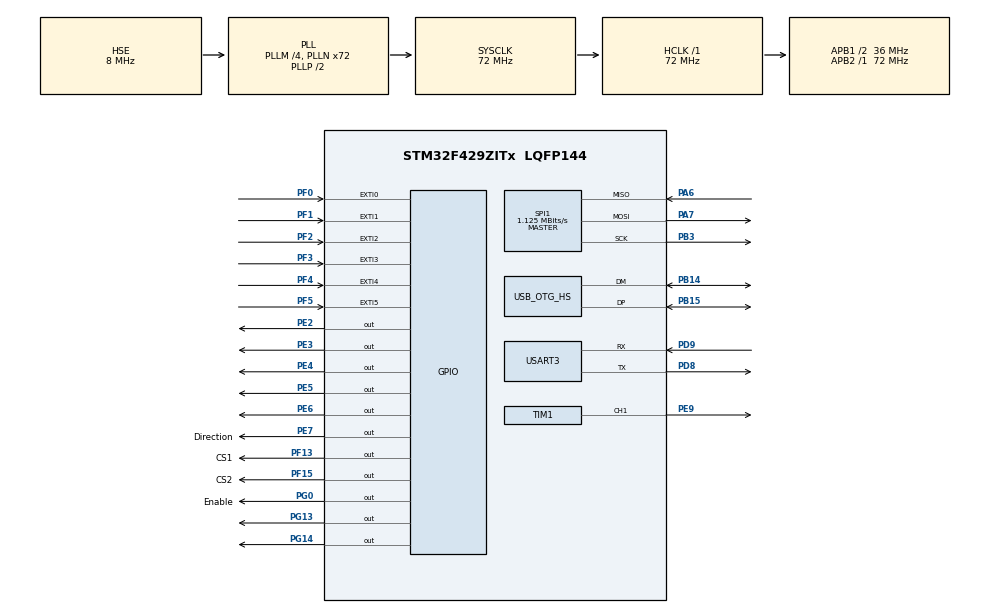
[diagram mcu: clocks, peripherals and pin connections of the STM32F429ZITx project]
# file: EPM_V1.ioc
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Dma.Request0=USART3_RX
Dma.USART3_RX.0.Direction=DMA_PERIPH_TO_MEMORY
Dma.USART3_RX.0.FIFOMode=DMA_FIFOMODE_DISABLE
Dma.USART3_RX.0.Instance=DMA1_Stream1
Dma.USART3_RX.0.MemDataAlignment=DMA_MDATAALIGN_BYTE
Dma.USART3_RX.0.MemInc=DMA_MINC_ENABLE
Dma.USART3_RX.0.Mode=DMA_CIRCULAR
Dma.USART3_RX.0.PeriphDataAlignment=DMA_PDATAALIGN_BYTE
Dma.USART3_RX.0.PeriphInc=DMA_PINC_DISABLE
Dma.USART3_RX.0.Priority=DMA_PRIORITY_LOW
FREERTOS.Tasks01=defaultTask,24,128,StartDefaultTask,Default,NULL,Dynamic,NULL,NULL;TempControl,24,128,StartTempControl,Default,NULL,Dynamic,NULL,NULL;TempRead,24,128,StartTempRead,Default,NULL,Dynamic,NULL,NULL;Reset,32,128,StartReset,Default,NULL,Dynamic,NULL,NULL;USB,24,128,StartUSB,Default,NULL,Dynamic,NULL,NULL
Mcu.Family=STM32F4
Mcu.Name=STM32F429ZITx
Mcu.Package=LQFP144
NVIC.DMA1_Stream1_IRQn=true\:5\:0\:false\:false\:true\:true\:false\:true\:true
NVIC.EXTI0_IRQn=true\:5\:0\:false\:false\:true\:true\:true\:true\:true
NVIC.EXTI1_IRQn=true\:5\:0\:false\:false\:true\:true\:true\:true\:true
NVIC.EXTI2_IRQn=true\:5\:0\:false\:false\:true\:true\:true\:true\:true
NVIC.EXTI3_IRQn=true\:5\:0\:false\:false\:true\:true\:true\:true\:true
NVIC.EXTI4_IRQn=true\:5\:0\:false\:false\:true\:true\:true\:true\:true
NVIC.EXTI9_5_IRQn=true\:5\:0\:false\:false\:true\:true\:true\:true\:true
NVIC.OTG_HS_IRQn=true\:5\:0\:false\:false\:true\:true\:false\:true\:true
NVIC.PriorityGroup=NVIC_PRIORITYGROUP_4
NVIC.TIM1_BRK_TIM9_IRQn=true\:5\:0\:false\:false\:true\:true\:true\:true\:true
NVIC.TIM1_CC_IRQn=true\:5\:0\:false\:false\:true\:true\:true\:true\:true
NVIC.TIM1_TRG_COM_TIM11_IRQn=true\:5\:0\:false\:false\:true\:true\:true\:true\:true
NVIC.TIM1_UP_TIM10_IRQn=true\:5\:0\:false\:false\:true\:true\:true\:true\:true
NVIC.TIM2_IRQn=true\:15\:0\:false\:false\:true\:false\:false\:true\:true
NVIC.TimeBase=TIM2_IRQn
NVIC.TimeBaseIP=TIM2
PA6.Mode=Full_Duplex_Master
PA6.Signal=SPI1_MISO
PA7.Mode=Full_Duplex_Master
PA7.Signal=SPI1_MOSI
PB14.Mode=Device_Only_FS
PB14.Signal=USB_OTG_HS_DM
PB15.Mode=Device_Only_FS
PB15.Signal=USB_OTG_HS_DP
PB3.Mode=Full_Duplex_Master
PB3.Signal=SPI1_SCK
PD8.Mode=Asynchronous
PD8.Signal=USART3_TX
PD9.Mode=Asynchronous
PD9.Signal=USART3_RX
PE2.Signal=GPIO_Output
PE3.Signal=GPIO_Output
PE4.Signal=GPIO_Output
PE5.Signal=GPIO_Output
PE6.Signal=GPIO_Output
PE7.GPIO_Label=Direction
PE7.Signal=GPIO_Output
PE9.Signal=S_TIM1_CH1
PF0.Signal=GPXTI0
PF1.Signal=GPXTI1
PF13.GPIO_Label=CS1
PF13.Signal=GPIO_Output
PF15.GPIO_Label=CS2
PF15.Signal=GPIO_Output
PF2.Signal=GPXTI2
PF3.Signal=GPXTI3
PF4.Signal=GPXTI4
PF5.Signal=GPXTI5
PG0.GPIO_Label=Enable
PG0.Signal=GPIO_Output
PG13.Signal=GPIO_Output
PG14.Signal=GPIO_Output
PH0/OSC_IN.Mode=HSE-External-Oscillator
PH0/OSC_IN.Signal=RCC_OSC_IN
PH1/OSC_OUT.Mode=HSE-External-Oscillator
PH1/OSC_OUT.Signal=RCC_OSC_OUT
ProjectManager.HeapSize=0x200
ProjectManager.StackSize=0x400
ProjectManager.TargetToolchain=MDK-ARM V5.32
RCC.48MHZClocksFreq_Value=48000000
RCC.AHBFreq_Value=72000000
RCC.APB1CLKDivider=RCC_HCLK_DIV2
RCC.APB1Freq_Value=36000000
RCC.APB1TimFreq_Value=72000000
RCC.APB2Freq_Value=72000000
RCC.APB2TimFreq_Value=72000000
RCC.CortexFreq_Value=72000000
RCC.HCLKFreq_Value=72000000
RCC.HSE_VALUE=8000000
RCC.HSI_VALUE=16000000
RCC.LSE_VALUE=32768
RCC.PLLM=4
RCC.PLLN=72
RCC.PLLQ=3
RCC.SYSCLKFreq_VALUE=72000000
RCC.SYSCLKSource=RCC_SYSCLKSOURCE_PLLCLK
RCC.VCOOutputFreq_Value=144000000
SH.S_TIM1_CH1.0=TIM1_CH1,PWM Generation1 CH1
SPI1.BaudRatePrescaler=SPI_BAUDRATEPRESCALER_64
SPI1.CalculateBaudRate=1.125 MBits/s
SPI1.DataSize=SPI_DATASIZE_8BIT
SPI1.Direction=SPI_DIRECTION_2LINES
SPI1.Mode=SPI_MODE_MASTER
SPI1.VirtualType=VM_MASTER
TIM1.Channel-PWM\ Generation1\ CH1=TIM_CHANNEL_1
TIM5.Prescaler=65535
USART3.VirtualMode=VM_ASYNC
USB_DEVICE.CLASS_NAME_HS=CDC
USB_DEVICE.VirtualMode-CDC_HS=Cdc
USB_DEVICE.VirtualModeHS=Cdc_HS
USB_OTG_HS.VirtualMode-Device_Only_FS=Device_Only_FS
VP_FREERTOS_VS_CMSIS_V2.Mode=CMSIS_V2
VP_SYS_VS_tim2.Mode=TIM2
VP_TIM1_VS_ClockSourceINT.Mode=Internal
VP_TIM5_VS_ClockSourceINT.Mode=Internal
VP_USB_DEVICE_VS_USB_DEVICE_CDC_HS.Mode=CDC_HS
board=STM32F429I-DISC1

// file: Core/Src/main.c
/* USER CODE BEGIN Header */
/**
  ******************************************************************************
  * @file           : main.c
  * @brief          : Main program body
  ******************************************************************************
  * @attention
  *
  * Copyright (c) 2024 STMicroelectronics.
  * All rights reserved.
  *
  * This software is licensed under terms that can be found in the LICENSE file
  * in the root directory of this software component.
  * If no LICENSE file comes with this software, it is provided AS-IS.
  *
  ******************************************************************************
  */
/* USER CODE END Header */
#include "main.h"
#include "cmsis_os.h"
#include "usb_device.h"

/* USER CODE BEGIN Includes */
#include "STM_TB6600.h"
#include "usbd_cdc_if.h"
#include "string.h"
/* USER CODE END Includes */

/* USER CODE BEGIN PD */
#define MAX6675_CS_PIN_1 GPIO_PIN_13
#define MAX6675_CS_PORT GPIOF
#define MAX6675_CS_PIN_2 GPIO_PIN_15

#define Temp_Addr  		0x080E0002
#define MM_Addr  			0x080E0004
#define Speed_Addr  	0x080E0006
//#define STEPS_PER_REV 6400        // Steps per revolution (including microstepping)
//#define LEAD_SCREW_PITCH 2        // Lead screw pitch in mm
//#define MICROSTEPS 43           // Microstepping factor
//#define TIMER_CLOCK_FREQ 72000000 // Timer clock frequency (72 MHz)
/* USER CODE END PD */

/* USER CODE BEGIN PM */
int tf;
 int total_step;
 int target_step;
 volatile uint32_t ticks;
 int time;
 int ii=0;
 int ab;
 volatile uint32_t pCount=0;
 int track;
struct Distance
{
	float A;
	float B;
};
uint8_t lm;
/* USER CODE END PM */

SPI_HandleTypeDef hspi1;

TIM_HandleTypeDef htim1;
TIM_HandleTypeDef htim5;

UART_HandleTypeDef huart3;
DMA_HandleTypeDef hdma_usart3_rx;

/* Definitions for defaultTask */
osThreadId_t defaultTaskHandle;
const osThreadAttr_t defaultTask_attributes = {
  .name = "defaultTask",
  .stack_size = 128 * 4,
  .priority = (osPriority_t) osPriorityNormal,
};
/* Definitions for TempControl */
osThreadId_t TempControlHandle;
const osThreadAttr_t TempControl_attributes = {
  .name = "TempControl",
  .stack_size = 128 * 4,
  .priority = (osPriority_t) osPriorityNormal,
};
/* Definitions for TempRead */
osThreadId_t TempReadHandle;
const osThreadAttr_t TempRead_attributes = {
  .name = "TempRead",
  .stack_size = 128 * 4,
  .priority = (osPriority_t) osPriorityNormal,
};
/* Definitions for Reset */
osThreadId_t ResetHandle;
const osThreadAttr_t Reset_attributes = {
  .name = "Reset",
  .stack_size = 128 * 4,
  .priority = (osPriority_t) osPriorityAboveNormal,
};
/* Definitions for USB */
osThreadId_t USBHandle;
const osThreadAttr_t USB_attributes = {
  .name = "USB",
  .stack_size = 128 * 4,
  .priority = (osPriority_t) osPriorityNormal,
};
/* USER CODE BEGIN PV */

tb6600_t motor;
struct Distance Dist;
// float variable
int switch_count;

uint8_t hom;
// uint8_t variable

uint8_t Rx_Buffer[9];

volatile uint16_t Temp=0,Temp_0,Temp_1,Temp_Set,Temp_Get;
volatile uint8_t Stop_Process=0;
uint8_t Start_Process=0,Manual=0;
uint8_t buff[20];
uint8_t Code[6],check;
uint8_t xTemp,xMM,xSpeed;
//
uint8_t Pause=0;
volatile uint8_t flag=0;
// uint16_t variable

uint16_t VP_Address;
uint16_t Volt,Curr,Time,Mm,mSpeed;

//

// uint32_t variable

uint32_t mCount,cCount,lCount,Calculate;
int inc1,inc2,inc3;
volatile int Page,Func,Data;
int abcd=0;
//
//
const char* Return_Buf[11]={"*PRS:STR#","*PRS:CMP#","*PRS:STP#","*MAN:HTR#","*MAN:MOT#","*SET:TMP#","*SET:MM#","*SET:SPD#","*SET:SAV#","*ERR:001#","*PRS:PAU#"};

/* USER CODE END PV */

void SystemClock_Config(void);
static void MX_GPIO_Init(void);
static void MX_DMA_Init(void);
static void MX_SPI1_Init(void);
static void MX_TIM1_Init(void);
static void MX_TIM5_Init(void);
static void MX_USART3_UART_Init(void);
void StartDefaultTask(void *argument);
void StartTempControl(void *argument);
void StartTempRead(void *argument);
void StartReset(void *argument);
void StartUSB(void *argument);
void Home();
/* USER CODE BEGIN PFP */
uint8_t ReadFlashByte(uint32_t address);
/* USER CODE END PFP */

int main(void)
{

  /* MCU Configuration--------------------------------------------------------*/

  /* Reset of all peripherals, Initializes the Flash interface and the Systick. */
  HAL_Init();

  /* Configure the system clock */
  SystemClock_Config();

  /* Initialize all configured peripherals */
  MX_GPIO_Init();
  MX_DMA_Init();
  MX_SPI1_Init();
  MX_TIM1_Init();
  MX_TIM5_Init();
  MX_USART3_UART_Init();
  /* USER CODE BEGIN 2 */
	MX_USB_DEVICE_Init();
	HAL_GPIO_WritePin(GPIOE,GPIO_PIN_3,1);			//PC
	HAL_Delay(2000);
	HAL_GPIO_WritePin(GPIOE,GPIO_PIN_3,0);
	Temp_Get=ReadFlashByte(Temp_Addr);
	Mm=ReadFlashByte(MM_Addr);
	mSpeed=ReadFlashByte(Speed_Addr);
//Temp_Set=30;
//Mm=50;
//mSpeed=200;
	//
	int hom;
	//
	tb6600_init_tim(&motor,GPIOG,GPIO_PIN_0,GPIOE,GPIO_PIN_7,htim1,TIM_CHANNEL_1);
	tb6600_Set(&motor,CW,Fast,6400,72);
	//
Home();

  /* USER CODE END 2 */

  /* Init scheduler */
  osKernelInitialize();

  /* Create the thread(s) */
  /* creation of defaultTask */
  defaultTaskHandle = osThreadNew(StartDefaultTask, NULL, &defaultTask_attributes);

  /* creation of TempControl */
  TempControlHandle = osThreadNew(StartTempControl, NULL, &TempControl_attributes);

  /* creation of TempRead */
  TempReadHandle = osThreadNew(StartTempRead, NULL, &TempRead_attributes);

  /* creation of Reset */
  ResetHandle = osThreadNew(StartReset, NULL, &Reset_attributes);

  /* creation of USB */
  USBHandle = osThreadNew(StartUSB, NULL, &USB_attributes);

  /* Start scheduler */
  osKernelStart();

  /* We should never get here as control is now taken by the scheduler */

  /* Infinite loop */
  while (1)
  {

  }
}

void SystemClock_Config(void)
{
  RCC_OscInitTypeDef RCC_OscInitStruct = {0};
  RCC_ClkInitTypeDef RCC_ClkInitStruct = {0};

  /** Configure the main internal regulator output voltage
  */
  __HAL_RCC_PWR_CLK_ENABLE();
  __HAL_PWR_VOLTAGESCALING_CONFIG(PWR_REGULATOR_VOLTAGE_SCALE3);

  /** Initializes the RCC Oscillators according to the specified parameters
  * in the RCC_OscInitTypeDef structure.
  */
  RCC_OscInitStruct.OscillatorType = RCC_OSCILLATORTYPE_HSE;
  RCC_OscInitStruct.HSEState = RCC_HSE_ON;
  RCC_OscInitStruct.PLL.PLLState = RCC_PLL_ON;
  RCC_OscInitStruct.PLL.PLLSource = RCC_PLLSOURCE_HSE;
  RCC_OscInitStruct.PLL.PLLM = 4;
  RCC_OscInitStruct.PLL.PLLN = 72;
  RCC_OscInitStruct.PLL.PLLP = RCC_PLLP_DIV2;
  RCC_OscInitStruct.PLL.PLLQ = 3;
  if (HAL_RCC_OscConfig(&RCC_OscInitStruct) != HAL_OK)
  {
    Error_Handler();
  }

  /** Initializes the CPU, AHB and APB buses clocks
  */
  RCC_ClkInitStruct.ClockType = RCC_CLOCKTYPE_HCLK|RCC_CLOCKTYPE_SYSCLK
                              |RCC_CLOCKTYPE_PCLK1|RCC_CLOCKTYPE_PCLK2;
  RCC_ClkInitStruct.SYSCLKSource = RCC_SYSCLKSOURCE_PLLCLK;
  RCC_ClkInitStruct.AHBCLKDivider = RCC_SYSCLK_DIV1;
  RCC_ClkInitStruct.APB1CLKDivider = RCC_HCLK_DIV2;
  RCC_ClkInitStruct.APB2CLKDivider = RCC_HCLK_DIV1;

  if (HAL_RCC_ClockConfig(&RCC_ClkInitStruct, FLASH_LATENCY_2) != HAL_OK)
  {
    Error_Handler();
  }
}

static void MX_SPI1_Init(void)
{

  /* SPI1 parameter configuration*/
  hspi1.Instance = SPI1;
  hspi1.Init.Mode = SPI_MODE_MASTER;
  hspi1.Init.Direction = SPI_DIRECTION_2LINES;
  hspi1.Init.DataSize = SPI_DATASIZE_8BIT;
  hspi1.Init.CLKPolarity = SPI_POLARITY_LOW;
  hspi1.Init.CLKPhase = SPI_PHASE_1EDGE;
  hspi1.Init.NSS = SPI_NSS_SOFT;
  hspi1.Init.BaudRatePrescaler = SPI_BAUDRATEPRESCALER_64;
  hspi1.Init.FirstBit = SPI_FIRSTBIT_MSB;
  hspi1.Init.TIMode = SPI_TIMODE_DISABLE;
  hspi1.Init.CRCCalculation = SPI_CRCCALCULATION_DISABLE;
  hspi1.Init.CRCPolynomial = 10;
  if (HAL_SPI_Init(&hspi1) != HAL_OK)
  {
    Error_Handler();
  }

}

static void MX_TIM1_Init(void)
{

  TIM_ClockConfigTypeDef sClockSourceConfig = {0};
  TIM_MasterConfigTypeDef sMasterConfig = {0};
  TIM_OC_InitTypeDef sConfigOC = {0};
  TIM_BreakDeadTimeConfigTypeDef sBreakDeadTimeConfig = {0};

  htim1.Instance = TIM1;
  htim1.Init.Prescaler = 0;
  htim1.Init.CounterMode = TIM_COUNTERMODE_UP;
  htim1.Init.Period = 65535;
  htim1.Init.ClockDivision = TIM_CLOCKDIVISION_DIV1;
  htim1.Init.RepetitionCounter = 0;
  htim1.Init.AutoReloadPreload = TIM_AUTORELOAD_PRELOAD_DISABLE;
  if (HAL_TIM_Base_Init(&htim1) != HAL_OK)
  {
    Error_Handler();
  }
  sClockSourceConfig.ClockSource = TIM_CLOCKSOURCE_INTERNAL;
  if (HAL_TIM_ConfigClockSource(&htim1, &sClockSourceConfig) != HAL_OK)
  {
    Error_Handler();
  }
  if (HAL_TIM_PWM_Init(&htim1) != HAL_OK)
  {
    Error_Handler();
  }
  sMasterConfig.MasterOutputTrigger = TIM_TRGO_RESET;
  sMasterConfig.MasterSlaveMode = TIM_MASTERSLAVEMODE_DISABLE;
  if (HAL_TIMEx_MasterConfigSynchronization(&htim1, &sMasterConfig) != HAL_OK)
  {
    Error_Handler();
  }
  sConfigOC.OCMode = TIM_OCMODE_PWM1;
  sConfigOC.Pulse = 0;
  sConfigOC.OCPolarity = TIM_OCPOLARITY_HIGH;
  sConfigOC.OCNPolarity = TIM_OCNPOLARITY_HIGH;
  sConfigOC.OCFastMode = TIM_OCFAST_DISABLE;
  sConfigOC.OCIdleState = TIM_OCIDLESTATE_RESET;
  sConfigOC.OCNIdleState = TIM_OCNIDLESTATE_RESET;
  if (HAL_TIM_PWM_ConfigChannel(&htim1, &sConfigOC, TIM_CHANNEL_1) != HAL_OK)
  {
    Error_Handler();
  }
  sBreakDeadTimeConfig.OffStateRunMode = TIM_OSSR_DISABLE;
  sBreakDeadTimeConfig.OffStateIDLEMode = TIM_OSSI_DISABLE;
  sBreakDeadTimeConfig.LockLevel = TIM_LOCKLEVEL_OFF;
  sBreakDeadTimeConfig.DeadTime = 0;
  sBreakDeadTimeConfig.BreakState = TIM_BREAK_DISABLE;
  sBreakDeadTimeConfig.BreakPolarity = TIM_BREAKPOLARITY_HIGH;
  sBreakDeadTimeConfig.AutomaticOutput = TIM_AUTOMATICOUTPUT_DISABLE;
  if (HAL_TIMEx_ConfigBreakDeadTime(&htim1, &sBreakDeadTimeConfig) != HAL_OK)
  {
    Error_Handler();
  }
  HAL_TIM_MspPostInit(&htim1);

}

static void MX_TIM5_Init(void)
{

  TIM_ClockConfigTypeDef sClockSourceConfig = {0};
  TIM_MasterConfigTypeDef sMasterConfig = {0};

  htim5.Instance = TIM5;
  htim5.Init.Prescaler = 65535;
  htim5.Init.CounterMode = TIM_COUNTERMODE_UP;
  htim5.Init.Period = 4294967295;
  htim5.Init.ClockDivision = TIM_CLOCKDIVISION_DIV1;
  htim5.Init.AutoReloadPreload = TIM_AUTORELOAD_PRELOAD_DISABLE;
  if (HAL_TIM_Base_Init(&htim5) != HAL_OK)
  {
    Error_Handler();
  }
  sClockSourceConfig.ClockSource = TIM_CLOCKSOURCE_INTERNAL;
  if (HAL_TIM_ConfigClockSource(&htim5, &sClockSourceConfig) != HAL_OK)
  {
    Error_Handler();
  }
  sMasterConfig.MasterOutputTrigger = TIM_TRGO_RESET;
  sMasterConfig.MasterSlaveMode = TIM_MASTERSLAVEMODE_DISABLE;
  if (HAL_TIMEx_MasterConfigSynchronization(&htim5, &sMasterConfig) != HAL_OK)
  {
    Error_Handler();
  }

}

static void MX_USART3_UART_Init(void)
{

  huart3.Instance = USART3;
  huart3.Init.BaudRate = 115200;
  huart3.Init.WordLength = UART_WORDLENGTH_8B;
  huart3.Init.StopBits = UART_STOPBITS_1;
  huart3.Init.Parity = UART_PARITY_NONE;
  huart3.Init.Mode = UART_MODE_TX_RX;
  huart3.Init.HwFlowCtl = UART_HWCONTROL_NONE;
  huart3.Init.OverSampling = UART_OVERSAMPLING_16;
  if (HAL_UART_Init(&huart3) != HAL_OK)
  {
    Error_Handler();
  }

}

static void MX_DMA_Init(void)
{

  /* DMA controller clock enable */
  __HAL_RCC_DMA1_CLK_ENABLE();

  /* DMA interrupt init */
  /* DMA1_Stream1_IRQn interrupt configuration */
  HAL_NVIC_SetPriority(DMA1_Stream1_IRQn, 5, 0);
  HAL_NVIC_EnableIRQ(DMA1_Stream1_IRQn);

}

static void MX_GPIO_Init(void)
{
  GPIO_InitTypeDef GPIO_InitStruct = {0};

  /* GPIO Ports Clock Enable */
  __HAL_RCC_GPIOE_CLK_ENABLE();
  __HAL_RCC_GPIOF_CLK_ENABLE();
  __HAL_RCC_GPIOH_CLK_ENABLE();
  __HAL_RCC_GPIOA_CLK_ENABLE();
  __HAL_RCC_GPIOG_CLK_ENABLE();
  __HAL_RCC_GPIOB_CLK_ENABLE();
  __HAL_RCC_GPIOD_CLK_ENABLE();

  /*Configure GPIO pin Output Level */
  HAL_GPIO_WritePin(GPIOE, GPIO_PIN_2|GPIO_PIN_3|GPIO_PIN_4|GPIO_PIN_5
                          |GPIO_PIN_6|Direction_Pin, GPIO_PIN_RESET);

  /*Configure GPIO pin Output Level */
  HAL_GPIO_WritePin(GPIOF, CS1_Pin|CS2_Pin, GPIO_PIN_RESET);

  /*Configure GPIO pin Output Level */
  HAL_GPIO_WritePin(GPIOG, Enable_Pin|GPIO_PIN_13|GPIO_PIN_14, GPIO_PIN_RESET);

  /*Configure GPIO pins : PE2 PE3 PE4 PE5
                           PE6 Direction_Pin */
  GPIO_InitStruct.Pin = GPIO_PIN_2|GPIO_PIN_3|GPIO_PIN_4|GPIO_PIN_5
                          |GPIO_PIN_6|Direction_Pin;
  GPIO_InitStruct.Mode = GPIO_MODE_OUTPUT_PP;
  GPIO_InitStruct.Pull = GPIO_NOPULL;
  GPIO_InitStruct.Speed = GPIO_SPEED_FREQ_LOW;
  HAL_GPIO_Init(GPIOE, &GPIO_InitStruct);

  /*Configure GPIO pins : PF0 PF1 PF2 PF3
                           PF4 PF5 */
  GPIO_InitStruct.Pin = GPIO_PIN_0|GPIO_PIN_1|GPIO_PIN_2|GPIO_PIN_3
                          |GPIO_PIN_4|GPIO_PIN_5;
  GPIO_InitStruct.Mode = GPIO_MODE_IT_FALLING;
  GPIO_InitStruct.Pull = GPIO_PULLUP;
  HAL_GPIO_Init(GPIOF, &GPIO_InitStruct);

  /*Configure GPIO pins : CS1_Pin CS2_Pin */
  GPIO_InitStruct.Pin = CS1_Pin|CS2_Pin;
  GPIO_InitStruct.Mode = GPIO_MODE_OUTPUT_PP;
  GPIO_InitStruct.Pull = GPIO_NOPULL;
  GPIO_InitStruct.Speed = GPIO_SPEED_FREQ_LOW;
  HAL_GPIO_Init(GPIOF, &GPIO_InitStruct);

  /*Configure GPIO pins : Enable_Pin PG13 PG14 */
  GPIO_InitStruct.Pin = Enable_Pin|GPIO_PIN_13|GPIO_PIN_14;
  GPIO_InitStruct.Mode = GPIO_MODE_OUTPUT_PP;
  GPIO_InitStruct.Pull = GPIO_NOPULL;
  GPIO_InitStruct.Speed = GPIO_SPEED_FREQ_LOW;
  HAL_GPIO_Init(GPIOG, &GPIO_InitStruct);

  /* EXTI interrupt init*/
//  HAL_NVIC_SetPriority(EXTI0_IRQn, 5, 0);
//  HAL_NVIC_EnableIRQ(EXTI0_IRQn);

  HAL_NVIC_SetPriority(EXTI1_IRQn, 5, 0);
  HAL_NVIC_EnableIRQ(EXTI1_IRQn);

//  HAL_NVIC_SetPriority(EXTI2_IRQn, 5, 0);
//  HAL_NVIC_EnableIRQ(EXTI2_IRQn);

  HAL_NVIC_SetPriority(EXTI3_IRQn, 5, 0);
  HAL_NVIC_EnableIRQ(EXTI3_IRQn);

//  HAL_NVIC_SetPriority(EXTI4_IRQn, 5, 0);
//  HAL_NVIC_EnableIRQ(EXTI4_IRQn);

//  HAL_NVIC_SetPriority(EXTI9_5_IRQn, 5, 0);
//  HAL_NVIC_EnableIRQ(EXTI9_5_IRQn);

}

/* USER CODE BEGIN 4 */

//

uint16_t MAX6675_ReadTemp(void)
{
  uint8_t data[2];
  uint16_t value;

  // Pull the CS pin low to enable the MAX6675
  HAL_GPIO_WritePin(MAX6675_CS_PORT, MAX6675_CS_PIN_1, GPIO_PIN_RESET);

  // Receive 2 bytes of data
  HAL_SPI_Receive(&hspi1, data, 2, HAL_MAX_DELAY);

  // Pull the CS pin high to disable the MAX6675
  HAL_GPIO_WritePin(MAX6675_CS_PORT, MAX6675_CS_PIN_1, GPIO_PIN_SET);

  // Combine the two bytes into a single 16-bit value
  value = (data[0] << 8) | data[1];

  // The temperature data is in the top 12 bits of the 16-bit value
  value >>= 3;
	value*=0.25;
	return value;
  // Return the temperature value

}

//

//

uint16_t MAX6675_Read_Temp(void)
{
  uint8_t data[2];
  uint16_t value;

  // Pull the CS pin low to enable the MAX6675
  HAL_GPIO_WritePin(MAX6675_CS_PORT, MAX6675_CS_PIN_2, GPIO_PIN_RESET);

  // Receive 2 bytes of data
  HAL_SPI_Receive(&hspi1, data, 2, HAL_MAX_DELAY);

  // Pull the CS pin high to disable the MAX6675
  HAL_GPIO_WritePin(MAX6675_CS_PORT, MAX6675_CS_PIN_2, GPIO_PIN_SET);

  // Combine the two bytes into a single 16-bit value
  value = (data[0] << 8) | data[1];

  // The temperature data is in the top 12 bits of the 16-bit value
  value >>= 3;
	value*=0.25;
	return value;
  // Return the temperature value

}

//

//

void Reset_Timer (TIM_HandleTypeDef *htim)
{
		__HAL_TIM_SET_COUNTER(htim,0);
		HAL_TIM_GenerateEvent(htim, TIM_EVENTSOURCE_UPDATE);
		HAL_TIM_Base_Stop_IT(htim);
}

//

//
uint8_t ReadFlashByte(uint32_t address)
{
    return *(uint8_t*)address;
}
//

//
void StoreFlashByte(uint8_t A,uint8_t B,uint8_t C)
{
	HAL_FLASH_Unlock();
  // Erase the specified Flash sector
	FLASH_EraseInitTypeDef EraseInitStruct;
    uint32_t SectorError = 0;

    EraseInitStruct.TypeErase     = FLASH_TYPEERASE_SECTORS;
    EraseInitStruct.VoltageRange  = FLASH_VOLTAGE_RANGE_3;
    EraseInitStruct.Sector        = FLASH_SECTOR_11;
    EraseInitStruct.NbSectors     = 1;
	HAL_FLASHEx_Erase(&EraseInitStruct,(uint32_t *)SectorError);
	HAL_FLASH_Program(FLASH_TYPEPROGRAM_BYTE,0x080E0000,0);
	HAL_FLASH_Program(FLASH_TYPEPROGRAM_BYTE,0x080E0002,A);
	HAL_FLASH_Program(FLASH_TYPEPROGRAM_BYTE,0x080E0004,B);
	HAL_FLASH_Program(FLASH_TYPEPROGRAM_BYTE,0x080E0006,C);
	HAL_FLASH_Lock();

}

//

//

void Usb_Receive_Check()
{
	sscanf((char*)buff,"%*c%d:%d:%d%*c",&Page,&Func,&Data);
	/*
	if(bath Placed!=0)
	{
		CDC_Transmit_HS((uint8_t *)Return_Buf[9],9);
	}
	else

	*/
	switch(Page)
	{
		case 1: // PROCESS
			switch(Func)
			{
				case 0:

				Pause=0;
						Stop_Process=1;
						Start_Process=0;
						CDC_Transmit_HS((uint8_t *)Return_Buf[2],sizeof(Return_Buf));
						osThreadFlagsSet(ResetHandle, 0x02);

					break;
				case 1:
					switch(Data)
					{
						case 0:
							CDC_Transmit_HS((uint8_t *)Return_Buf[10],sizeof(Return_Buf));
							Pause=1;
						 Start_Process=0;
						Stop_Process =0;
						osThreadFlagsSet(defaultTaskHandle, 0x01);
						break;
						case 1:
													Start_Process=1;
						Stop_Process=0;
				CDC_Transmit_HS((uint8_t *)Return_Buf[0],sizeof(Return_Buf));
						osThreadFlagsSet(defaultTaskHandle, 0x01);
						break;
//					if(Data==1){
//						Start_Process=1;
//						Stop_Process=0;
//				CDC_Transmit_HS((uint8_t *)Return_Buf[0],sizeof(Return_Buf));
//						osThreadFlagsSet(defaultTaskHandle, 0x01);
//					}
//
//			 else if(Data==0)
//			 {
//				 //send feedback
//				 CDC_Transmit_HS((uint8_t *)Return_Buf[10],sizeof(Return_Buf));
//				 tb6600_Disable(&motor);
//				 Start_Process=0;
//			 }
						}
					break;
			}
			break;
		case 2: // MANUAL
			{
				osThreadFlagsSet(defaultTaskHandle, 0x01);
			}
			break;
		case 3: // SETTING
			switch(Func)
			{
				case 1:
						CDC_Transmit_HS((uint8_t *)Return_Buf[5],9);
						xTemp=Data;
					break;
				case 2:
						CDC_Transmit_HS((uint8_t *)Return_Buf[6],9);
						xMM=Data;
					break;
				case 3:
						CDC_Transmit_HS((uint8_t *)Return_Buf[7],9);
						xSpeed=Data;
					break;
				case 4:
						//give notificattion to save
						{
							CDC_Transmit_HS((uint8_t *)Return_Buf[8],9);
							osThreadFlagsSet(defaultTaskHandle, 0x01);
						}
					break;
			}
			break;
	}

}
//
void Home()
{ hom=1;
		tb6600_Enable(&motor);
								tb6600_ChangeDirection(&motor,CCW);

	 tb6600_Movemm_tim_1(&motor,mSpeed,150);

	//							tb6600_ChangeSpeed(&motor, 2);
//								tb6600_cont_tim(&motor);

								//tb6600_ChangeSpeed(&motor, mSpeed);//changed here
							  //tb6600_calculate_motor_parm(&motor, mSpeed, Mm);
							  //UpdateStepperSpeed(mSpeed,Mm);
								HAL_GPIO_WritePin(GPIOG,GPIO_PIN_13,0);
								HAL_GPIO_WritePin(GPIOE,GPIO_PIN_5,0);

//	if(Dist.B!=0)
//	{
//		if(Dist.B<0)
//		{
//			tb6600_ChangeDirection(&motor,CCW);
//			tb6600_Enable(&motor);
//			HAL_TIM_Base_Start_IT(&htim1);
//			tb6600_Movemm_tim(&motor,Dist.B);
//			mCount=GETVALUE(&motor);
//		}
//		else if(Dist.B>0)
//		{
//			tb6600_ChangeDirection(&motor,CW);
//			tb6600_Enable(&motor);
//			HAL_TIM_Base_Start_IT(&htim1);
//			tb6600_Movemm_tim(&motor,Dist.B);
//			mCount=GETVALUE(&motor);
//		}
//	}
}
//
void HAL_GPIO_EXTI_Callback(uint16_t GPIO_Pin){
	switch_count++;

	if (GPIO_Pin == GPIO_PIN_1)
  {

				tb6600_ChangeDirection(&motor,CW);
	//	tb6600_Movemm_tim(&motor, 30);
				HAL_GPIO_TogglePin(GPIOG,GPIO_PIN_13);
		if(hom==1){
		HAL_TIM_Base_Start_IT(&htim1);
			mCount=GETVALUE(&motor);
		}	//toggle led
		}
	else if(GPIO_Pin == GPIO_PIN_3)
  {

		}
	}

/* USER CODE END 4 */

void StartDefaultTask(void *argument)
{
  /* init code for USB_DEVICE */
  MX_USB_DEVICE_Init();
  /* USER CODE BEGIN 5 */
  /* Infinite loop */
  for(;;)
  {
    osThreadFlagsWait(0x01, osFlagsWaitAny, osWaitForever); // waiting for uart notification

		switch(Page)
		{
			case 1:  // Process
				//flag=0;
				if(Start_Process==1)
				{
					Pause=0;
					//Stop_Process=0;
					//flag = 1;
							//	flag=0;
										CDC_Transmit_HS((uint8_t *)Return_Buf[0],9);
//						Temp = MAX6675_ReadTemp();
//					while(Temp<Temp_Set)//dont start process until it has reached the required temperature set by the user
//					{
//						HAL_GPIO_WritePin(GPIOE,GPIO_PIN_5,1);//heater on
//						HAL_GPIO_WritePin(GPIOG,GPIO_PIN_13,1);//led on
//						Temp = MAX6675_ReadTemp();
//						//tb6600_Disable(&motor);
//					}
//					HAL_GPIO_WritePin(GPIOE,GPIO_PIN_5,0);//heater on
//						HAL_GPIO_WritePin(GPIOG,GPIO_PIN_13,0);//led on
//				// Start Stirrer

				// Start to&fro motion

        // Optional: Add a timeout mechanism if necessary

					hom=0;
					tb6600_Enable(&motor);
					abcd=6;
					TIM1->CNT=0;
					Calculate=1;
					HAL_TIM_Base_Start_IT(&htim1);
					tb6600_ChangeDirection(&motor,CW);

					//tb6600_Movemm_tim(&motor,Mm); //changed here
					//tb6600_calculate_motor_parm(&motor, mSpeed, Mm);
					//tb6600_ChangeSpeed(&motor, mSpeed);
				//	UpdateStepperSpeed(mSpeed,Mm);
					 tb6600_Movemm_tim_1(&motor,mSpeed,Mm);

				lm++;
					mCount=GETVALUE(&motor);
					//lCount=0;
				//	pCount=0;
				// wait for command from pc
				//	osThreadFlagsWait(0x01, osFlagsWaitAny, osWaitForever);
					//CDC_Transmit_HS((uint8_t *)Return_Buf[1],9);
					cCount=Dist.A;
				// Stop to&fro motion
//					HAL_TIM_Base_Stop_IT(&htim1);
//					tb6600_Stop_tim(&motor);
//					tb6600_Disable(&motor);
					//Home();
				// Change Page
				//Temp_Set=30;
//
//					Start_Process=0;
//					Dist.A=0;
//					inc1=0;
//					mCount=0;
//				//	lCount=0;
//					pCount=0;

			//}

//				else{
//				flag=0;
			}
				else if(Pause==1){
				tb6600_Disable(&motor);
					Start_Process=0;
				}
				break;
			case 2:  // Manual
				switch(Func)
				{
					case 1:
						CDC_Transmit_HS((uint8_t *)Return_Buf[3],9);
						switch(Data)
						{
							case 0:
								// Heater Off
								HAL_GPIO_WritePin(GPIOG,GPIO_PIN_13,0);
								HAL_GPIO_WritePin(GPIOE,GPIO_PIN_5,0);

								break;
							case 1:
								//Heater on
								HAL_GPIO_WritePin(GPIOG,GPIO_PIN_13,1);
								HAL_GPIO_WritePin(GPIOE,GPIO_PIN_5,1);

								break;
						}
						break;
					case 2:
						CDC_Transmit_HS((uint8_t *)Return_Buf[4],9);
						switch(Data)
						{
							case 0:
								// Actuate forward
//								tb6600_Enable(&motor);
//								tb6600_ChangeDirection(&motor,CCW);//default cw change to ccw
//								tb6600_Movemm_tim(&motor,50);//default is 10
//								tb6600_ChangeSpeed(&motor, mSpeed);//changed here
//							  //tb6600_calculate_motor_parm(&motor, mSpeed, Mm);
//							  //UpdateStepperSpeed(mSpeed,Mm);
//								HAL_GPIO_WritePin(GPIOG,GPIO_PIN_13,0);
//								HAL_GPIO_WritePin(GPIOE,GPIO_PIN_5,0);
//								HAL_TIM_Base_Start_IT(&htim1);
//								mCount=GETVALUE(&motor);

							tb6600_Enable(&motor);
							tb6600_ChangeDirection(&motor,CCW);//default cw change to ccw
//changing the motor movement to based on distance and speed
tb6600_Movemm_tim_1(&motor,50,50);// Speed = 50 mm/sec & distance = 50 mm
HAL_GPIO_WritePin(GPIOG,GPIO_PIN_13,0);
HAL_GPIO_WritePin(GPIOE,GPIO_PIN_5,0);
HAL_TIM_Base_Start_IT(&htim1);
mCount=GETVALUE(&motor);

								break;
							case 1:
								// Actuate Reverse
//								tb6600_Enable(&motor);
//								tb6600_ChangeDirection(&motor,CW);//deafult ccw change to cw
//								tb6600_Movemm_tim(&motor,50);
//								tb6600_ChangeSpeed(&motor, mSpeed);
//							  //tb6600_calculate_motor_parm(&motor, mSpeed, Mm);
//							  //UpdateStepperSpeed(mSpeed);
//							  //tb6600_Disable(&motor);
//								HAL_GPIO_WritePin(GPIOG,GPIO_PIN_13,0);
//								HAL_GPIO_WritePin(GPIOE,GPIO_PIN_5,0);
//								HAL_TIM_Base_Start_IT(&htim1);
//								mCount=GETVALUE(&motor);
//							ab++;

							tb6600_Enable(&motor);
tb6600_ChangeDirection(&motor,CW);//deafult ccw change to cw
// changing motor movement to be based on distance and speed
tb6600_Movemm_tim_1(&motor,50,50);//Speed = 50 mm/sec & distance = 50 mm
HAL_GPIO_WritePin(GPIOG,GPIO_PIN_13,0);
HAL_GPIO_WritePin(GPIOE,GPIO_PIN_5,0);
HAL_TIM_Base_Start_IT(&htim1);
mCount=GETVALUE(&motor);
ab++;
								break;
						}
						break;
				}
				break;
			case 3:  // Setting
				StoreFlashByte(xTemp,xMM,xSpeed);
				Temp_Set=xTemp;
				Mm=xMM;
				mSpeed=xSpeed;
				break;
		}

  }
  /* USER CODE END 5 */
}

void StartTempControl(void *argument)
{
  /* USER CODE BEGIN StartTempControl */
  /* Infinite loop */
  for(;;)
  {
		// if(bath_placed==0)
		//if(Page==1 || Page==2)
			if(Page==1 ){
   if((Temp<Temp_Set) && (Data == 1))
	 {
		 HAL_GPIO_WritePin(GPIOE,GPIO_PIN_5,1);
		 HAL_GPIO_WritePin(GPIOG,GPIO_PIN_13,1);
		 tf = 1;
	 }
	 else
	 {
		 HAL_GPIO_WritePin(GPIOE,GPIO_PIN_5,0);
		 HAL_GPIO_WritePin(GPIOG,GPIO_PIN_13,0);
		 tf = 0;
	 }
  }
}
  /* USER CODE END StartTempControl */
}

void StartTempRead(void *argument)
{
  /* USER CODE BEGIN StartTempRead */
  /* Infinite loop */
  for(;;)
  {

    Temp_0=MAX6675_ReadTemp();
    osDelay(220);
//		Temp_1=MAX6675_Read_Temp();
//    osDelay(500);
		Temp=Temp_0;
		ab++;
		//Temp=20;
		if(Page==1 || Page==2)
		{
			char BUF;
			sprintf(&BUF,"*1:2:%d#",Temp);
			CDC_Transmit_HS((uint8_t*)&BUF, strlen(&BUF));
		}
  }
  /* USER CODE END StartTempRead */
}

void StartReset(void *argument)
{
  /* USER CODE BEGIN StartReset */
  /* Infinite loop */
  for(;;)
  {
    osThreadFlagsWait(0x02, osFlagsWaitAny, osWaitForever);
    if(Stop_Process == 1)
		{
			Home();
			track++;
			//Resetting process variables
			Start_Process=0;
					Dist.A=0;
					inc1=0;
					mCount=0;
					pCount=0;
//			Reset_Timer (&htim1);
//			HAL_TIM_Base_Stop_IT(&htim1);
//			tb6600_Disable(&motor);
//			vTaskSuspend(defaultTaskHandle);
//			vTaskDelete(defaultTaskHandle);
			/* Definitions for defaultTask */
//			osThreadId_t defaultTaskHandle;
//			const osThreadAttr_t defaultTask_attributes = {
//				.name = "defaultTask",
//				.stack_size = 128 * 4,
//				.priority = (osPriority_t) osPriorityNormal,
//			};
//			defaultTaskHandle = osThreadNew(StartDefaultTask, NULL, &defaultTask_attributes);
		//	Stop_Process = 0;

		}
  }
  /* USER CODE END StartReset */
}

void StartUSB(void *argument)
{
  /* USER CODE BEGIN StartUSB */
  /* Infinite loop */
  for(;;)
  {
		if(check==1)
		{
			Usb_Receive_Check();
			check=0;
		}
		if(Calculate==1)
		{
			if(Start_Process==1)
			{
				Dist.A=inc1/800;
			}
			else if(Manual==1)
			{

			}
			else
			{

			}
		}
  }
  /* USER CODE END StartUSB */
}

void HAL_TIM_PeriodElapsedCallback(TIM_HandleTypeDef *htim)
{
  if (htim->Instance == TIM2) {
    HAL_IncTick();
  }
  /* USER CODE BEGIN Callback 1 */
	if (htim->Instance == TIM1)
	{
		if(HAL_GPIO_ReadPin(motor.direction_gpio,motor.direction_pin) == 1)
			{
				inc1++;
			}
			else if(HAL_GPIO_ReadPin(motor.direction_gpio,motor.direction_pin) == 0 && Dist.A!=0)
			{
				inc1--;
			}

		if(Start_Process==1 &&hom==0)//ccw
		 {
			pCount++;
			if(pCount==mCount)
			{
				// change direction motor
				tb6600_ToggleDirection(&motor);
				pCount=0;
			}
		 }
		else
		{
			mCount--;
			if(mCount<=0)
			{
				// change direction motor
				tb6600_Stop_tim(&motor);
				tb6600_Disable(&motor);
				HAL_TIM_Base_Stop_IT(&htim1);
				Manual=0;
			}
		}
		if(hom==1){
		if(mCount==6000){

			tb6600_Stop_tim(&motor);
				tb6600_Disable(&motor);
				HAL_TIM_Base_Stop_IT(&htim1);
		hom=0;
			mCount=0;
		}
		}
	}
  /* USER CODE END Callback 1 */
}

void Error_Handler(void)
{
  __disable_irq();
  while (1)
  {
  }
}
